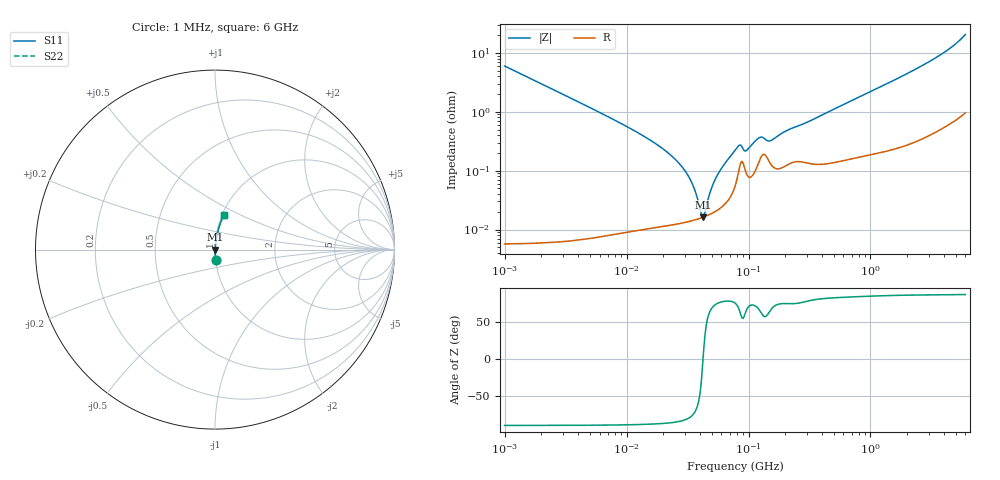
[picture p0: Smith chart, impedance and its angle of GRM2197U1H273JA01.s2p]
!Murata Part Number: GRM2197U1H273JA01
!These Parameters are Measured in Series Mode Connection
!Data Generated on Mar 30, 2021
!  o--ll--o
!Port1  Port2
!  o------o
!Operation Temp=25[degC], DC Bias Voltage=0[V]
!Freq. Start=1000[kHz] Stop=6[GHz] 401[Steps]
# Hz S RI R 50
!Freq.(Hz) S11(Real) S11(Imag) S21(Real) S21(Imag) S12(Real) S12(Imag) S22(Real) S22(Imag)
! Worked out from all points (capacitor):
!   401 points, 1 MHz to 6 GHz, reference 50 ohm
!   read as one part in series: C = 26.6 nF near 1.044 MHz
!   lowest |Z| = 16.2 mohm at 42.13 MHz (marker M1)
!   series resonance near 42.36 MHz, so ESL is about 530 pH
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1000000  0.00362 -0.0596  0.9964 0.0596  0.9964 0.0596  0.00362 -0.0596
4293785  0.000257 -0.0138  0.9997 0.0138  0.9997 0.0138  0.000257 -0.0138
1.0704e7  0.00012 -0.00522  0.9999 0.00522  0.9999 0.00522  0.00012 -0.00522
1.843659e7  0.000117 -0.00263  0.9999 0.00263  0.9999 0.00263  0.000117 -0.00263
2.499862e7  0.000125 -0.00156  0.9999 0.00156  0.9999 0.00156  0.000125 -0.00156
3.107204e7  0.000135 -0.000896  0.9999 0.000896  0.9999 0.000896  0.000135 -0.000896
3.540316e7  0.000144 -0.000515  0.9999 0.000515  0.9999 0.000515  0.000144 -0.000515
4.033799e7  0.000156 -0.000141  0.9998 0.000141  0.9998 0.000141  0.000156 -0.000141
4.213132e7  0.000161 -1.57e-05  0.9998 1.57e-05  0.9998 1.57e-05  0.000161 -1.57e-05
4.400437e7  0.000167 0.00011  0.9998 -0.00011  0.9998 -0.00011  0.000167 0.00011
4.905945e7  0.000185 0.00043  0.9998 -0.00043  0.9998 -0.00043  0.000185 0.00043
5.469524e7  0.00021 0.000764  0.9998 -0.000764  0.9998 -0.000764  0.00021 0.000764
7.745967e7  0.000546 0.00214  0.9995 -0.00214  0.9995 -0.00214  0.000546 0.00214
8.450008e7  0.00115 0.00246  0.9988 -0.00246  0.9988 -0.00246  0.00115 0.00246
9.627852e7  0.000883 0.00201  0.9991 -0.00201  0.9991 -0.00201  0.000883 0.00201
1.249896e8  0.00161 0.00332  0.9984 -0.00332  0.9984 -0.00332  0.00161 0.00332
1.520136e8  0.0013 0.00296  0.9987 -0.00296  0.9987 -0.00296  0.0013 0.00296
2.061188e8  0.00126 0.00463  0.9987 -0.00463  0.9987 -0.00463  0.00126 0.00463
3.325952e8  0.00135 0.00715  0.9987 -0.00715  0.9987 -0.00715  0.00135 0.00715
1.428092e9  0.00317 0.0311  0.9968 -0.0311  0.9968 -0.0311  0.00317 0.0311
3.5601e9  0.012 0.0851  0.988 -0.0851  0.988 -0.0851  0.012 0.0851
6e9  0.0487 0.1932  0.9513 -0.1932  0.9513 -0.1932  0.0487 0.1932
